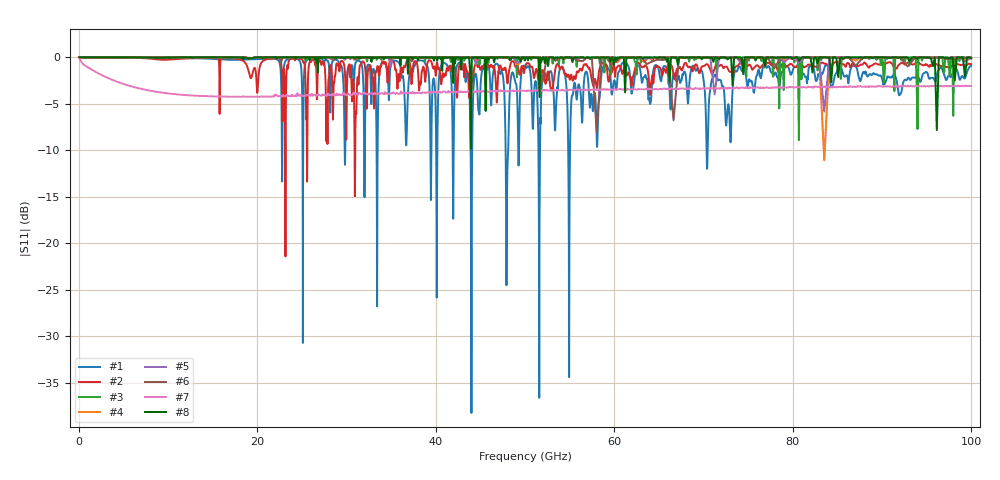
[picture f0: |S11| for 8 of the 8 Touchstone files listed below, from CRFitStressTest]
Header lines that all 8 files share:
! Sonnet Data File
! From: em Version : 18.56
! Data is De-embedded
# GHZ S MA R 50.00000
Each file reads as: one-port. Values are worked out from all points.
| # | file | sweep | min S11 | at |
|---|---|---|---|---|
| 1 | E10k_0o01-100lin_nd_nadap.s1p | 10 MHz to 100 GHz | -38.3 dB | 44 GHz |
| 2 | F10k_0o01-100lin_nd_nadap.s1p | 10 MHz to 100 GHz | -21.4 dB | 23.16 GHz |
| 3 | N1000_0o1-100_nd_nadap.s1p | 100 MHz to 100 GHz | -8.9 dB | 80.7 GHz |
| 4 | N1000_0o1-100exp_0o05Cell_nd_nadap.s1p | 100 MHz to 100 GHz | -11.1 dB | 83.55 GHz |
| 5 | N1000_0o1-100exp_nd_nadap.s1p | 100 MHz to 100 GHz | -5.8 dB | 83.55 GHz |
| 6 | N1000_0o01-100exp_nd_nadap.s1p | 10 MHz to 100 GHz | -8.1 dB | 58.04 GHz |
| 7 | N1000_Lossy_0o01-100exp_nd_nadap.s1p | 100 MHz to 100 GHz | -4.3 dB | 18.2 GHz |
| 8 | N3000_0o1-100exp_nd_nadap.s1p | 100 MHz to 100 GHz | -9.9 dB | 43.94 GHz |
